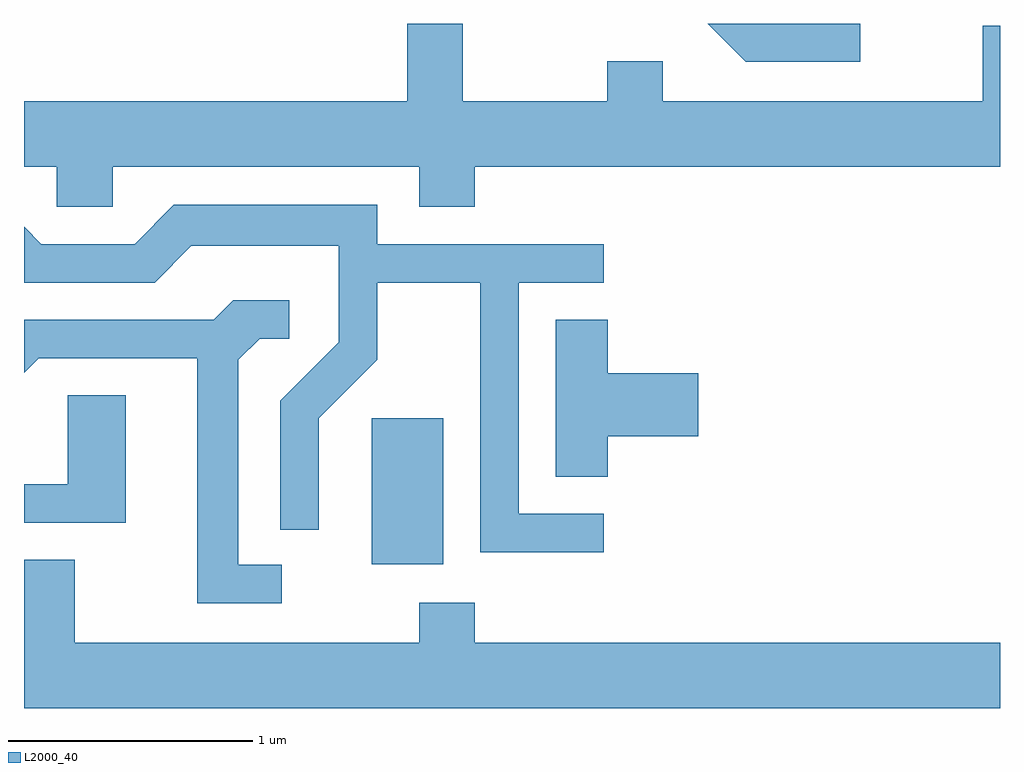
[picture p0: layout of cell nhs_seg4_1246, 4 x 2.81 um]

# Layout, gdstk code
import gdstk
lib = gdstk.Library(unit=1e-6, precision=1e-09)
def R(c, l, rs):  # rectangles x0, y0, x1, y1
    for r in rs: c.add(gdstk.rectangle(r[:2], r[2:], *l))
def P(c, l, *ps):  # polygons
    for p in ps: c.add(gdstk.Polygon(p, *l))
L2000_40 = (2000, 40)

nhs_seg4_1246 = lib.new_cell('nhs_seg4_1246')
R(nhs_seg4_1246, L2000_40, [(223.036,1299.766,223.329,1300.364)])
P(nhs_seg4_1246, L2000_40, [(221.974,1301.396),(223.231,1301.396),(223.231,1301.231),(223.459,1301.231),(223.459,1301.396),(225.611,1301.396),(225.611,1301.974),(225.541,1301.974),(225.541,1301.664),(224.229,1301.664),(224.229,1301.829),(224.001,1301.829),(224.001,1301.664),(223.409,1301.664),(223.409,1301.982),(223.181,1301.982),(223.181,1301.664),(221.611,1301.664),(221.611,1301.396),(221.746,1301.396),(221.746,1301.231),(221.974,1301.231)],
  [(225.038,1301.982),(224.413,1301.982),(224.569,1301.826),(225.038,1301.826)],
  [(223.988,1299.974),(223.639,1299.974),(223.639,1300.921),(223.988,1300.921),(223.988,1301.079),(223.059,1301.079),(223.059,1301.239),(222.224,1301.239),(222.064,1301.079),(221.682,1301.079),(221.611,1301.15),(221.611,1300.921),(222.147,1300.921),(222.297,1301.071),(222.901,1301.071),(222.901,1300.677),(222.661,1300.437),(222.661,1299.908),(222.819,1299.908),(222.819,1300.364),(223.059,1300.604),(223.059,1300.921),(223.481,1300.921),(223.481,1299.816),(223.988,1299.816)],
  [(222.668,1299.764),(222.489,1299.764),(222.489,1300.604),(222.577,1300.691),(222.698,1300.691),(222.698,1300.849),(222.469,1300.849),(222.389,1300.769),(221.611,1300.769),(221.611,1300.551),(221.672,1300.611),(222.321,1300.611),(222.321,1299.606),(222.668,1299.606)],
  [(224.004,1300.291),(224.374,1300.291),(224.374,1300.549),(224.004,1300.549),(224.004,1300.769),(223.791,1300.769),(223.791,1300.126),(224.004,1300.126)],
  [(222.029,1300.459),(221.791,1300.459),(221.791,1300.094),(221.611,1300.094),(221.611,1299.936),(222.029,1299.936)],
  [(225.611,1299.444),(223.459,1299.444),(223.459,1299.609),(223.231,1299.609),(223.231,1299.444),(221.819,1299.444),(221.819,1299.784),(221.611,1299.784),(221.611,1299.176),(225.611,1299.176)])

lib.write_gds('nhs_seg4_1246.gds')
